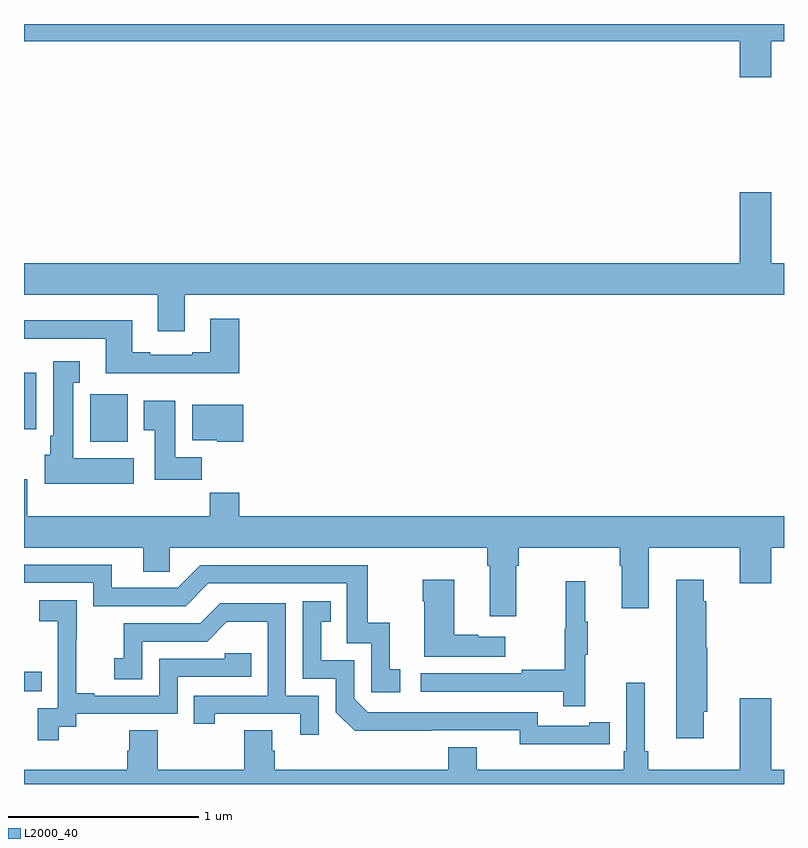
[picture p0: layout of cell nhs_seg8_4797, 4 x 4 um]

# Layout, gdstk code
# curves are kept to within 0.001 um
import gdstk
lib = gdstk.Library(unit=1e-6, precision=1e-09)
def R(c, l, rs):  # rectangles x0, y0, x1, y1
    for r in rs: c.add(gdstk.rectangle(r[:2], r[2:], *l))
def P(c, l, *ps):  # polygons
    for p in ps: c.add(gdstk.Polygon(p, *l))
L2000_40 = (2000, 40)

nhs_seg8_4797 = lib.new_cell('nhs_seg8_4797')
R(nhs_seg8_4797, L2000_40, [(401,1138.389,401.093,1138.49), (401.349,1139.702,401.545,1139.952), (401,1139.768,401.065,1140.064)])
P(nhs_seg8_4797, L2000_40, [(404.932,1141.808),(405,1141.808),(405,1141.9),(401,1141.9),(401,1141.808),(404.768,1141.808),(404.768,1141.62),(404.932,1141.62)],
  [(401.845,1140.476),(405,1140.476),(405,1140.64),(404.932,1140.64),(404.932,1141.015),(404.768,1141.015),(404.768,1140.64),(401,1140.64),(401,1140.476),(401.705,1140.476),(401.705,1140.282),(401.845,1140.282)],
  [(402.134,1140.349),(401.981,1140.349),(401.981,1140.172),(401.885,1140.172),(401.885,1140.159),(401.665,1140.159),(401.665,1140.172),(401.569,1140.172),(401.569,1140.34),(401,1140.34),(401,1140.243),(401.429,1140.243),(401.429,1140.062),(402.134,1140.062)],
  [(401.578,1139.614),(401.26,1139.614),(401.26,1140.011),(401.293,1140.011),(401.293,1140.124),(401.153,1140.124),(401.153,1139.734),(401.138,1139.734),(401.138,1139.634),(401.108,1139.634),(401.108,1139.48),(401.578,1139.48)],
  [(401.936,1139.62),(401.797,1139.62),(401.797,1139.917),(401.63,1139.917),(401.63,1139.761),(401.687,1139.761),(401.687,1139.502),(401.936,1139.502)],
  [(402.154,1139.896),(401.885,1139.896),(401.885,1139.708),(402.018,1139.708),(402.018,1139.702),(402.154,1139.702)],
  [(403.591,1139.048),(403.604,1139.048),(403.604,1139.144),(404.135,1139.144),(404.135,1139.048),(404.147,1139.048),(404.147,1138.824),(404.287,1138.824),(404.287,1139.144),(404.768,1139.144),(404.768,1138.956),(404.932,1138.956),(404.932,1139.144),(405,1139.144),(405,1139.308),(402.134,1139.308),(402.134,1139.432),(401.977,1139.432),(401.977,1139.308),(401.017,1139.308),(401.017,1139.503),(401,1139.503),(401,1139.144),(401.627,1139.144),(401.627,1139.017),(401.766,1139.017),(401.766,1139.144),(403.439,1139.144),(403.439,1139.048),(403.451,1139.048),(403.451,1138.782),(403.591,1138.782)],
  [(402.979,1138.503),(402.926,1138.503),(402.926,1138.75),(402.808,1138.75),(402.808,1139.052),(401.928,1139.052),(401.808,1138.932),(401.461,1138.932),(401.461,1139.055),(401,1139.055),(401,1138.959),(401.364,1138.959),(401.364,1138.836),(401.85,1138.836),(401.97,1138.956),(402.699,1138.956),(402.699,1138.641),(402.828,1138.641),(402.828,1138.383),(402.979,1138.383)],
  [(404.578,1138.281),(404.596,1138.281),(404.596,1138.617),(404.591,1138.617),(404.591,1138.862),(404.578,1138.862),(404.578,1138.975),(404.432,1138.975),(404.432,1138.14),(404.578,1138.14)],
  [(403.534,1138.675),(403.391,1138.675),(403.391,1138.685),(403.264,1138.685),(403.264,1138.975),(403.099,1138.975),(403.099,1138.862),(403.106,1138.862),(403.106,1138.571),(403.534,1138.571)],
  [(403.955,1138.579),(403.966,1138.579),(403.966,1138.753),(403.955,1138.753),(403.955,1138.966),(403.852,1138.966),(403.852,1138.716),(403.845,1138.716),(403.845,1138.502),(403.621,1138.502),(403.621,1138.482),(403.089,1138.482),(403.089,1138.386),(403.837,1138.386),(403.837,1138.308),(403.955,1138.308)],
  [(401.182,1138.201),(401.274,1138.201),(401.274,1138.269),(401.808,1138.269),(401.808,1138.464),(402.197,1138.464),(402.197,1138.587),(402.057,1138.587),(402.057,1138.56),(401.712,1138.56),(401.712,1138.365),(401.371,1138.365),(401.371,1138.378),(401.276,1138.378),(401.276,1138.661),(401.277,1138.661),(401.277,1138.867),(401.079,1138.867),(401.079,1138.757),(401.177,1138.757),(401.177,1138.529),(401.178,1138.529),(401.178,1138.299),(401.073,1138.299),(401.073,1138.131),(401.182,1138.131)],
  [(403.976,1138.11),(404.084,1138.11),(404.084,1138.226),(403.976,1138.226),(403.976,1138.206),(403.704,1138.206),(403.704,1138.278),(402.81,1138.278),(402.738,1138.35),(402.738,1138.551),(402.565,1138.551),(402.565,1138.755),(402.614,1138.755),(402.614,1138.861),(402.468,1138.861),(402.468,1138.455),(402.642,1138.455),(402.642,1138.278),(402.74,1138.181),(403.608,1138.182),(403.608,1138.109)],
  [(402.552,1138.365),(402.378,1138.365),(402.378,1138.851),(402.032,1138.851),(401.927,1138.746),(401.524,1138.746),(401.524,1138.561),(401.475,1138.561),(401.475,1138.452),(401.622,1138.452),(401.622,1138.65),(401.964,1138.65),(402.068,1138.754),(402.282,1138.754),(402.282,1138.365),(401.893,1138.365),(401.893,1138.218),(402.004,1138.218),(402.004,1138.269),(402.455,1138.269),(402.455,1138.158),(402.552,1138.158)],
  [(405,1137.976),(404.932,1137.976),(404.932,1138.351),(404.768,1138.351),(404.768,1137.976),(404.285,1137.976),(404.285,1138.072),(404.266,1138.072),(404.266,1138.432),(404.169,1138.432),(404.169,1138.072),(404.156,1138.072),(404.156,1137.976),(403.384,1137.976),(403.384,1138.093),(403.232,1138.093),(403.232,1137.976),(402.32,1137.976),(402.32,1138.074),(402.307,1138.074),(402.307,1138.184),(402.16,1138.184),(402.16,1137.976),(401.703,1137.976),(401.703,1138.184),(401.555,1138.184),(401.555,1138.074),(401.543,1138.074),(401.543,1137.976),(401,1137.976),(401,1137.9),(405,1137.9)])

lib.write_gds('nhs_seg8_4797.gds')
